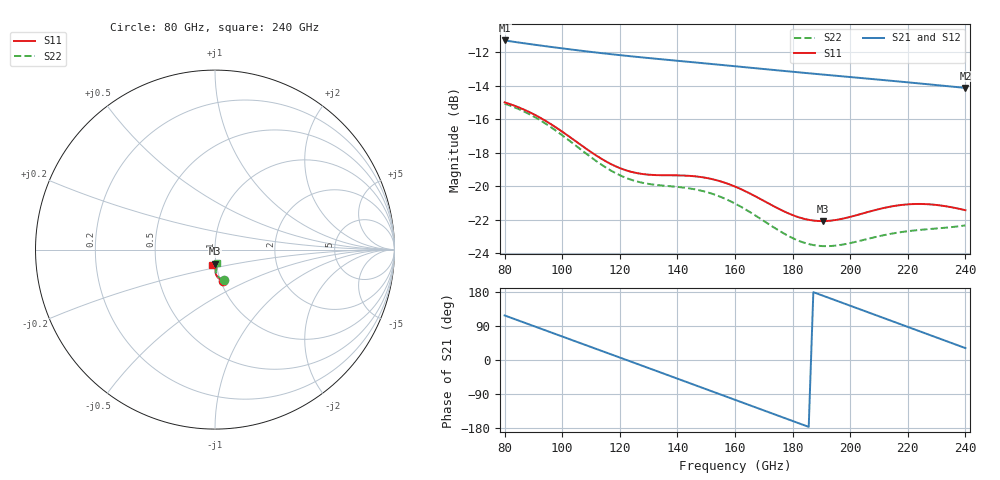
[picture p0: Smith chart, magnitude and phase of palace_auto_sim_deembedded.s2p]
! Created with skrf 1.11.0 (http://scikit-rf.org).
# GHz S DB R 50.0
!freq dBS11 angS11 dBS21 angS21 dBS12 angS12 dBS22 angS22
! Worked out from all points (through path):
!   101 points, 80 GHz to 240 GHz, reference 50 ohm
!   highest |S21| = -11.28 dB at 80 GHz (marker M1); lowest = -14.1 dB at 240 GHz (marker M2)
!   group delay of S21, straight-line fit = 7.75 ps
!   lowest |S11| = -22.1 dB at 190.4 GHz (marker M3), VSWR 1.17, Z = 49.3 - j7.8 ohm
!   |S11| at or under -10 dB: start of sweep to end of sweep
!   |S22| runs from -23.6 to -15.1 dB; largest |S21 - S12| = 1.7e-16
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80  -14.98 -75.5  -11.28 117.6  -11.28 117.6  -15.06 -74.3
86.4  -15.39 -79.3  -11.44 99.8  -11.44 99.8  -15.51 -78.2
92.8  -15.95 -83.0  -11.59 82.0  -11.59 82.0  -16.10 -82.0
99.2  -16.64 -86.2  -11.74 64.3  -11.74 64.3  -16.85 -85.2
107.2  -17.62 -88.4  -11.91 42.0  -11.91 42.0  -17.90 -87.6
113.6  -18.36 -88.6  -12.04 24.3  -12.04 24.3  -18.71 -87.7
120  -18.92 -87.6  -12.16 6.5  -12.16 6.5  -19.35 -86.7
126.4  -19.23 -86.3  -12.27 -11.3  -12.27 -11.3  -19.74 -85.4
134.4  -19.35 -85.7  -12.41 -33.6  -12.41 -33.6  -19.96 -84.7
147.2  -19.43 -88.6  -12.61 -69.3  -12.61 -69.3  -20.23 -87.3
153.6  -19.65 -91.1  -12.72 -87.2  -12.72 -87.2  -20.55 -89.6
160  -20.02 -93.6  -12.82 -105.1  -12.82 -105.1  -21.04 -91.7
166.4  -20.55 -95.3  -12.93 -122.9  -12.93 -122.9  -21.68 -93.0
174.4  -21.28 -95.6  -13.06 -145.3  -13.06 -145.3  -22.57 -92.4
180.8  -21.78 -94.1  -13.17 -163.1  -13.17 -163.1  -23.17 -90.1
187.2  -22.06 -91.6  -13.27 179.0  -13.27 179.0  -23.53 -86.6
190.4  -22.09 -90.3  -13.32 170.1  -13.32 170.1  -23.59 -84.8
203.2  -21.69 -87.6  -13.52 134.3  -13.52 134.3  -23.28 -79.8
214.4  -21.21 -89.6  -13.70 103.0  -13.70 103.0  -22.84 -79.4
220.8  -21.08 -92.0  -13.80 85.1  -13.80 85.1  -22.68 -79.9
227.2  -21.08 -94.8  -13.91 67.2  -13.91 67.2  -22.57 -80.6
240  -21.44 -99.7  -14.12 31.4  -14.12 31.4  -22.35 -81.5
